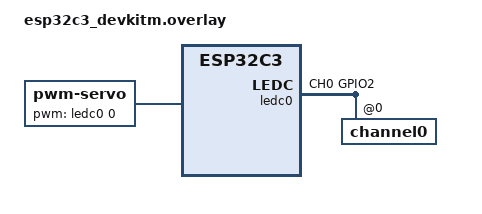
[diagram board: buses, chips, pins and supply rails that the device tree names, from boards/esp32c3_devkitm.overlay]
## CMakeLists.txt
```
# SPDX-License-Identifier: Apache-2.0

cmake_minimum_required(VERSION 3.20.0)
find_package(Zephyr REQUIRED HINTS $ENV{ZEPHYR_BASE})
project(Example)

target_sources(app PRIVATE src/main.c)
```

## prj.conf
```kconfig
CONFIG_STDOUT_CONSOLE=y
CONFIG_PRINTK=y
CONFIG_PWM=y
CONFIG_PWM_LED_ESP32=y
CONFIG_HEAP_MEM_POOL_SIZE=5120
CONFIG_STDOUT_CONSOLE=y
CONFIG_PRINTK=y
CONFIG_PWM=y
CONFIG_LOG=y
CONFIG_LOG_PRINTK=y
CONFIG_LOG_MODE_IMMEDIATE=y
CONFIG_PWM_LOG_LEVEL_DBG=y
```

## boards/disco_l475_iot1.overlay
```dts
/* Define a PWM servo device using pwm2 channel 1 */
&pwm2 {
    servo: servo {
        compatible = "pwm-servo";
        pwms = <&pwm2 1 PWM_MSEC(20) PWM_POLARITY_NORMAL>; /* Channel 1, 20ms period (50Hz) */
        min-pulse = <PWM_USEC(1000)>;
        max-pulse = <PWM_USEC(20500)>;
        label = "servo";
    };
};
```

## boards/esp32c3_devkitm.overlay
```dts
#include <zephyr/dt-bindings/pwm/pwm.h>

/ {
	servo: servo {
		compatible = "pwm-servo";
		pwms = <&ledc0 0 PWM_MSEC(20) PWM_POLARITY_NORMAL>;
		min-pulse = <PWM_USEC(700)>;
		max-pulse = <PWM_USEC(2500)>;
        label = "servo";
	};
};

&pinctrl {
    ledc0_default: ledc0_default {
        group1 {
            pinmux = <LEDC_CH0_GPIO2>;
            output-enable;
        };
    };
};

&ledc0 {
    pinctrl-0 = <&ledc0_default>;
    pinctrl-names = "default";
    status = "okay";
    #address-cells = <1>;
    #size-cells = <0>;
    channel0@0 {
        reg = <0x0>;
        timer = <0>;
    };
};
```

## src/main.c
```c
/*
 * Copyright (c) 2016 Intel Corporation
 *
 * SPDX-License-Identifier: Apache-2.0
 */

/**
 * @file Sample app to demonstrate PWM-based servomotor control
 */

#include <zephyr/kernel.h>
#include <zephyr/sys/printk.h>
#include <zephyr/device.h>
#include <zephyr/drivers/pwm.h>

static const struct pwm_dt_spec servo = PWM_DT_SPEC_GET(DT_NODELABEL(servo));
static const uint32_t min_pulse = DT_PROP(DT_NODELABEL(servo), min_pulse);
static const uint32_t max_pulse = DT_PROP(DT_NODELABEL(servo), max_pulse);


#define STEP PWM_USEC(100)

enum direction {
	DOWN,
	UP,
};

int main(void)
{
	uint32_t pulse_width = min_pulse;
	uint32_t current_pulse = min_pulse;
	enum direction dir = UP;
	int ret;

	printk("Servomotor control\n");
	printk("Pulse is: %u", min_pulse);
	printk("Pulse is: %u", max_pulse);

	printk("PWM dev: %s, channel: %d\n", servo.dev->name, servo.channel);
	printk("min: %d, max: %d\n", min_pulse, max_pulse);

	if (!pwm_is_ready_dt(&servo)) {
		printk("Error: PWM device %s is not ready\n", servo.dev->name);
		return 0;
	}

	if (!device_is_ready(servo.dev)) {
		printk("PWM device not ready!\n");
		return 0;
	}

	while (1) {
		ret = pwm_set_pulse_dt(&servo, pulse_width);
		//ret = pwm_set_pulse_dt(&servo, current_pulse);
		//ret = pwm_set_dt(&servo, current_pulse, PWM_MSEC(20));
		if (ret < 0) {
			printk("Error %d: failed to set pulse width\n", ret);
			return 0;
		}

		//current_pulse = (current_pulse == min_pulse) ? max_pulse : min_pulse;
		printk("Trying...");

		if (dir == DOWN) {
			if (pulse_width <= min_pulse) {
				dir = UP;
				pulse_width = min_pulse;
				printk("Changing to up\n");
			} else {
				pulse_width -= STEP;
			}
		} else {
			pulse_width += STEP;

			if (pulse_width >= max_pulse) {
				dir = DOWN;
				pulse_width = max_pulse;
				printk("Changing to down\n");
			}
		}

		k_sleep(K_MSEC(500));
	}
	return 0;
}
```
